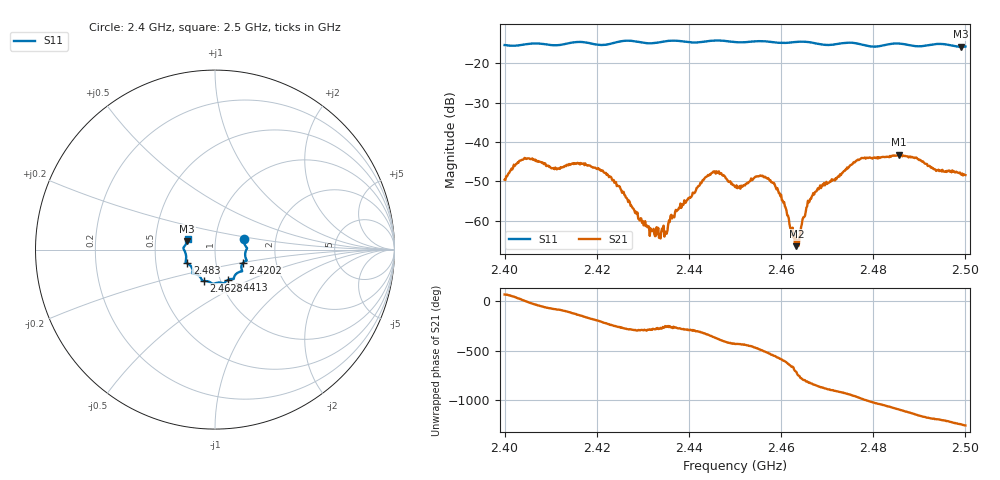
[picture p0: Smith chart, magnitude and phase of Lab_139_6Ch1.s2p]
# Hz S RI R 50
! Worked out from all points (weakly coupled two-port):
!   601 points, 2.4 GHz to 2.5 GHz, reference 50 ohm
!   highest |S21| = -43.19 dB at 2.4855 GHz (marker M1); lowest = -66.4 dB at 2.4633 GHz (marker M2)
!   lowest |S11| = -15.8 dB at 2.499 GHz (marker M3), VSWR 1.39, Z = 36.4 + j3.38 ohm
!   |S11| at or under -10 dB: start of sweep to end of sweep
!   S12 and S22 are empty: the file has one direction only
!   S11 on the Smith chart (normalised r, x): 2.4 GHz: 1.37, +0.16; 2.4202 GHz: 1.35, -0.20; 2.4413 GHz: 1.09, -0.38; 2.4628 GHz: 0.83, -0.30; 2.483 GHz: 0.72, -0.11; 2.5 GHz: 0.73, +0.09
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2.4e9  0.1607 0.057  0.00142 0.00302  0 0  0 0
2.404667e9  0.1742 0.0146  0.0061 -0.00037  0 0  0 0
2.410833e9  0.1685 -0.0188  0.000664 -0.00448  0 0  0 0
2.416667e9  0.176 -0.0615  -0.0045 -0.00281  0 0  0 0
2.420167e9  0.1561 -0.0726  -0.00435 0.00136  0 0  0 0
2.433333e9  0.108 -0.1483  0.000157 0.000801  0 0  0 0
2.435167e9  0.105 -0.16  -0.000102 0.000678  0 0  0 0
2.441333e9  0.0743 -0.168  0.00112 0.00201  0 0  0 0
2.4455e9  0.0509 -0.1877  0.00414 -0.00039  0 0  0 0
2.45e9  0.0293 -0.1838  0.000808 -0.00257  0 0  0 0
2.455e9  -0.00772 -0.1909  -0.00185 -0.00317  0 0  0 0
2.457667e9  -0.0205 -0.186  -0.00328 -0.000327  0 0  0 0
2.4605e9  -0.0434 -0.1761  -0.000839 0.00148  0 0  0 0
2.462833e9  -0.063 -0.1748  0.000593 0.000327  0 0  0 0
2.463333e9  -0.0658 -0.1751  0.000476 3.71e-05  0 0  0 0
2.466667e9  -0.0743 -0.1676  -0.000711 -0.00191  0 0  0 0
2.476167e9  -0.125 -0.1296  -0.00289 0.00489  0 0  0 0
2.483e9  -0.1549 -0.0767  0.00608 0.00243  0 0  0 0
2.483333e9  -0.1572 -0.0758  0.00611 0.00209  0 0  0 0
2.4855e9  -0.1641 -0.0698  0.00683 -0.00118  0 0  0 0
2.499e9  -0.1556 0.0452  -0.0037 -0.00126  0 0  0 0
2.5e9  -0.1526 0.0587  -0.00377 -0.000591  0 0  0 0
